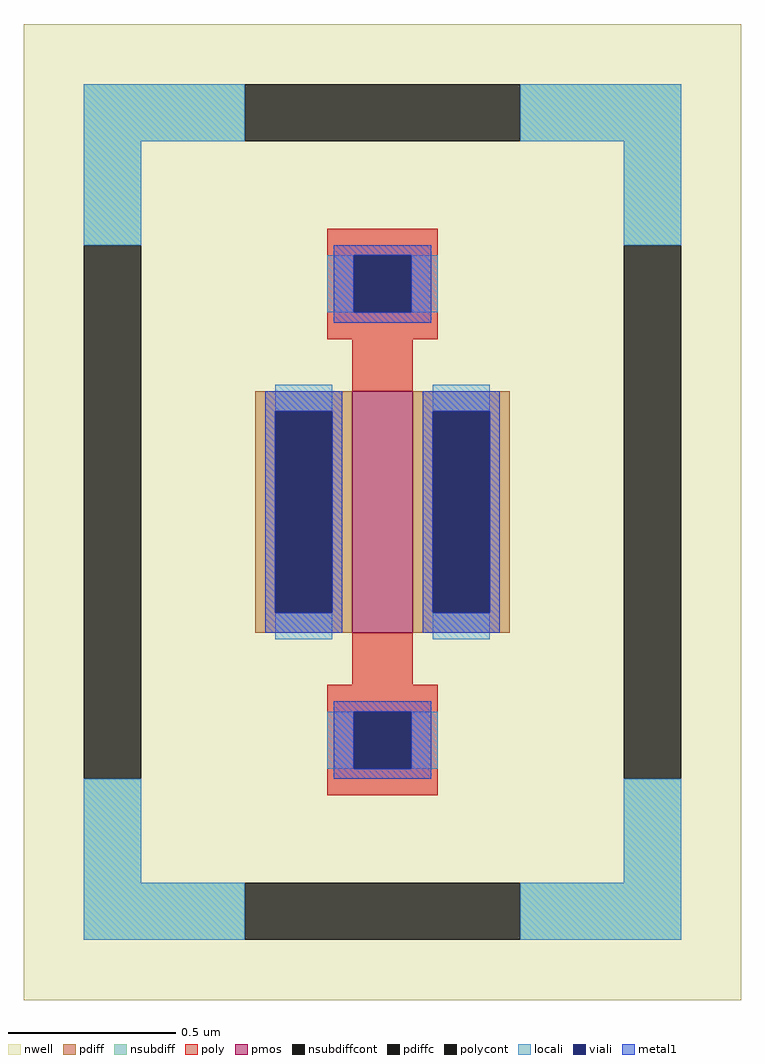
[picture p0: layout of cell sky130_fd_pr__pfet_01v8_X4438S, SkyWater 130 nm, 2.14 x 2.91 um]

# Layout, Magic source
magic
tech sky130A
magscale 1 2
<< nwell >>
rect -214 -291 214 291
<< pmos >>
rect -18 -72 18 72
<< pdiff >>
rect -76 60 -18 72
rect -76 -60 -64 60
rect -30 -60 -18 60
rect -76 -72 -18 -60
rect 18 60 76 72
rect 18 -60 30 60
rect 64 -60 76 60
rect 18 -72 76 -60
<< pdiffc >>
rect -64 -60 -30 60
rect 30 -60 64 60
<< nsubdiff >>
rect -178 221 -82 255
rect 82 221 178 255
rect -178 159 -144 221
rect 144 159 178 221
rect -178 -221 -144 -159
rect 144 -221 178 -159
rect -178 -255 -82 -221
rect 82 -255 178 -221
<< nsubdiffcont >>
rect -82 221 82 255
rect -178 -159 -144 159
rect 144 -159 178 159
rect -82 -255 82 -221
<< poly >>
rect -33 153 33 169
rect -33 119 -17 153
rect 17 119 33 153
rect -33 103 33 119
rect -18 72 18 103
rect -18 -103 18 -72
rect -33 -119 33 -103
rect -33 -153 -17 -119
rect 17 -153 33 -119
rect -33 -169 33 -153
<< polycont >>
rect -17 119 17 153
rect -17 -153 17 -119
<< locali >>
rect -178 221 -82 255
rect 82 221 178 255
rect -178 159 -144 221
rect 144 159 178 221
rect -33 119 -17 153
rect 17 119 33 153
rect -64 60 -30 76
rect -64 -76 -30 -60
rect 30 60 64 76
rect 30 -76 64 -60
rect -33 -153 -17 -119
rect 17 -153 33 -119
rect -178 -221 -144 -159
rect 144 -221 178 -159
rect -178 -255 -82 -221
rect 82 -255 178 -221
<< viali >>
rect -17 119 17 153
rect -64 -60 -30 60
rect 30 -60 64 60
rect -17 -153 17 -119
<< metal1 >>
rect -29 153 29 159
rect -29 119 -17 153
rect 17 119 29 153
rect -29 113 29 119
rect -70 60 -24 72
rect -70 -60 -64 60
rect -30 -60 -24 60
rect -70 -72 -24 -60
rect 24 60 70 72
rect 24 -60 30 60
rect 64 -60 70 60
rect 24 -72 70 -60
rect -29 -119 29 -113
rect -29 -153 -17 -119
rect 17 -153 29 -119
rect -29 -159 29 -153
<< properties >>
string FIXED_BBOX -161 -238 161 238
string gencell sky130_fd_pr__pfet_01v8
string library sky130
string parameters w 0.72 l 0.18 m 1 nf 1 diffcov 100 polycov 100 guard 1 glc 1 grc 1 gtc 1 gbc 1 tbcov 100 rlcov 100 topc 1 botc 1 poverlap 0 doverlap 1 lmin 0.15 wmin 0.42 compatible {sky130_fd_pr__pfet_01v8  sky130_fd_pr__pfet_01v8_lvt sky130_fd_pr__pfet_01v8_hvt  sky130_fd_pr__pfet_g5v0d10v5} full_metal 1 viasrc 100 viadrn 100 viagate 100 viagb 0 viagr 0 viagl 0 viagt 0
<< end >>
